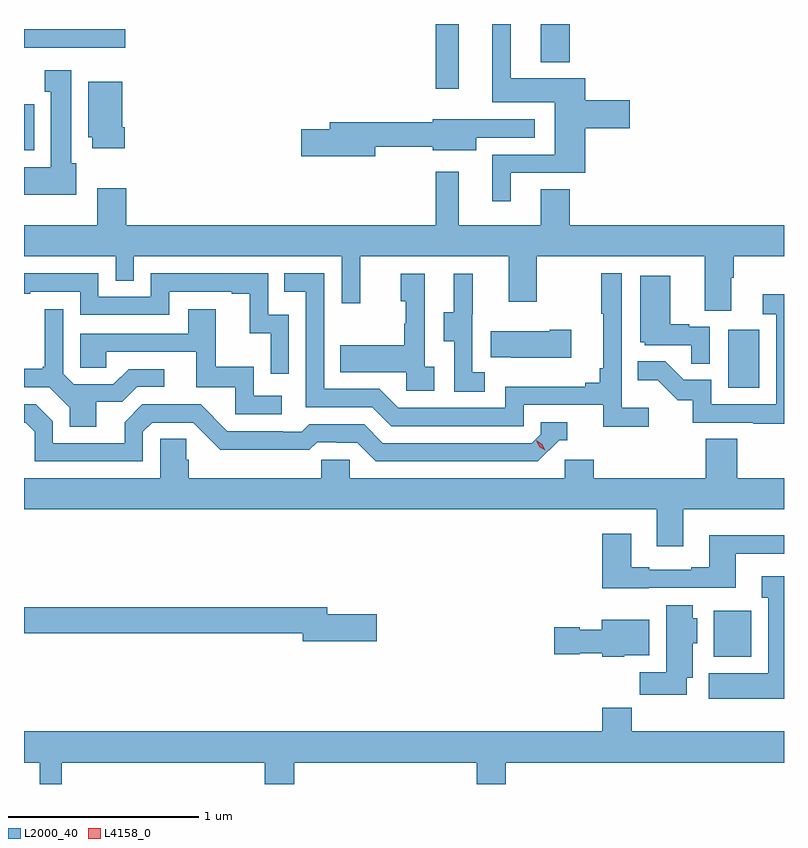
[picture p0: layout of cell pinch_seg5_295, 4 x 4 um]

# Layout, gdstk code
import gdstk
lib = gdstk.Library(unit=1e-6, precision=1e-09)
def R(c, l, rs):  # rectangles x0, y0, x1, y1
    for r in rs: c.add(gdstk.rectangle(r[:2], r[2:], *l))
def P(c, l, *ps):  # polygons
    for p in ps: c.add(gdstk.Polygon(p, *l))
L2000_40 = (2000, 40)
L4158_0 = (4158, 0)

pinch_seg5_295 = lib.new_cell('pinch_seg5_295')
R(pinch_seg5_295, L2000_40, [(894.113,881.294,894.31,881.536), (894.188,882.708,894.352,883.015), (890.482,883.958,890.536,884.2), (892.65,884.283,892.771,884.623), (893.201,884.423,893.354,884.623), (890.482,884.499,891.016,884.596)])
P(pinch_seg5_295, L2000_40, [(893.044,883.839),(893.435,883.839),(893.435,884.075),(893.671,884.075),(893.671,884.222),(893.435,884.222),(893.435,884.338),(893.044,884.338),(893.044,884.623),(892.946,884.623),(892.946,884.21),(893.276,884.21),(893.276,883.935),(892.946,883.935),(892.946,883.689),(893.044,883.689)],
  [(890.758,883.89),(890.731,883.89),(890.731,884.38),(890.591,884.38),(890.591,884.267),(890.624,884.267),(890.624,883.87),(890.482,883.87),(890.482,883.724),(890.758,883.724)],
  [(891.011,884.08),(890.998,884.08),(890.998,884.32),(890.819,884.32),(890.819,884.028),(890.84,884.028),(890.84,883.968),(891.011,883.968)],
  [(892.33,883.977),(892.634,883.977),(892.634,883.958),(892.861,883.958),(892.861,884.025),(893.17,884.025),(893.17,884.121),(892.857,884.121),(892.857,884.122),(892.634,884.122),(892.634,884.105),(892.091,884.105),(892.091,884.069),(891.942,884.069),(891.942,883.927),(892.33,883.927)],
  [(894.205,883.288),(894.218,883.288),(894.218,883.4),(894.482,883.4),(894.482,883.564),(893.354,883.564),(893.354,883.754),(893.201,883.754),(893.201,883.564),(892.771,883.564),(892.771,883.846),(892.65,883.846),(892.65,883.564),(891.02,883.564),(891.02,883.759),(890.867,883.759),(890.867,883.564),(890.482,883.564),(890.482,883.4),(890.964,883.4),(890.964,883.273),(891.06,883.273),(891.06,883.4),(892.155,883.4),(892.155,883.152),(892.253,883.152),(892.253,883.4),(893.033,883.4),(893.033,883.161),(893.181,883.161),(893.181,883.4),(894.065,883.4),(894.065,883.114),(894.205,883.114)],
  [(893.77,882.604),(893.628,882.604),(893.628,883.312),(893.52,883.312),(893.52,883.099),(893.531,883.099),(893.531,882.811),(893.512,882.811),(893.512,882.734),(893.435,882.734),(893.435,882.715),(893.016,882.715),(893.016,882.603),(892.452,882.603),(892.353,882.702),(892.062,882.702),(892.062,883.311),(891.853,883.311),(891.853,883.215),(891.966,883.215),(891.966,882.606),(892.316,882.606),(892.415,882.507),(893.112,882.507),(893.112,882.618),(893.531,882.618),(893.531,882.502),(893.77,882.502)],
  [(891.876,883.092),(891.768,883.092),(891.768,883.311),(891.15,883.311),(891.15,883.188),(890.874,883.188),(890.874,883.311),(890.482,883.311),(890.482,883.203),(890.515,883.203),(890.515,883.215),(890.778,883.215),(890.778,883.092),(891.246,883.092),(891.246,883.215),(891.575,883.215),(891.575,883.203),(891.671,883.203),(891.671,882.995),(891.78,882.995),(891.78,882.783),(891.876,882.783)],
  [(892.642,882.818),(892.59,882.818),(892.59,883.309),(892.466,883.309),(892.466,883.164),(892.492,883.164),(892.492,883.046),(892.482,883.046),(892.482,882.931),(892.147,882.931),(892.147,882.791),(892.494,882.791),(892.494,882.693),(892.642,882.693)],
  [(892.906,882.791),(892.842,882.791),(892.842,883.095),(892.844,883.095),(892.844,883.309),(892.745,883.309),(892.745,883.107),(892.691,883.107),(892.691,882.952),(892.746,882.952),(892.746,882.688),(892.906,882.688)],
  [(894.09,883.029),(893.984,883.029),(893.984,883.042),(893.884,883.042),(893.884,883.297),(893.726,883.297),(893.726,882.948),(893.748,882.948),(893.748,882.933),(893.995,882.933),(893.995,882.835),(894.09,882.835)],
  [(894.482,883.201),(894.369,883.201),(894.369,883.095),(894.441,883.095),(894.441,882.621),(894.099,882.621),(894.099,882.75),(893.955,882.75),(893.857,882.848),(893.713,882.848),(893.713,882.749),(893.817,882.749),(893.924,882.642),(894.001,882.642),(894.001,882.525),(894.319,882.525),(894.319,882.52),(894.482,882.52)],
  [(891.838,882.666),(891.69,882.666),(891.69,882.82),(891.491,882.82),(891.491,883.123),(891.347,883.123),(891.347,882.993),(890.778,882.993),(890.778,882.813),(890.915,882.813),(890.915,882.897),(891.389,882.897),(891.389,882.711),(891.594,882.711),(891.594,882.57),(891.838,882.57)],
  [(890.863,882.634),(890.998,882.634),(891.078,882.714),(891.22,882.714),(891.22,882.807),(891.032,882.807),(890.951,882.726),(890.745,882.726),(890.688,882.783),(890.688,883.123),(890.591,883.123),(890.591,882.82),(890.58,882.82),(890.58,882.808),(890.482,882.808),(890.482,882.711),(890.616,882.711),(890.723,882.604),(890.723,882.502),(890.863,882.502)],
  [(893.362,883.014),(893.249,883.014),(893.249,883.006),(892.939,883.006),(892.939,882.869),(893.047,882.869),(893.047,882.866),(893.362,882.866)],
  [(891.108,882.477),(891.156,882.525),(891.372,882.525),(891.514,882.383),(891.75,882.383),(891.75,882.381),(891.983,882.381),(892.025,882.423),(892.128,882.423),(892.128,882.42),(892.235,882.42),(892.334,882.321),(893.187,882.321),(893.298,882.432),(893.341,882.432),(893.341,882.528),(893.202,882.528),(893.202,882.465),(893.154,882.417),(892.371,882.417),(892.272,882.516),(891.983,882.516),(891.944,882.477),(891.845,882.477),(891.845,882.48),(891.552,882.48),(891.411,882.621),(891.105,882.621),(891.011,882.527),(891.011,882.417),(890.634,882.417),(890.634,882.531),(890.544,882.621),(890.482,882.621),(890.482,882.525),(890.49,882.525),(890.538,882.477),(890.538,882.321),(891.108,882.321)],
  [(893.953,882.068),(894.482,882.068),(894.482,882.232),(894.236,882.232),(894.236,882.44),(894.071,882.44),(894.071,882.232),(893.48,882.232),(893.48,882.33),(893.328,882.33),(893.328,882.232),(892.197,882.232),(892.197,882.33),(892.047,882.33),(892.047,882.232),(891.35,882.232),(891.35,882.33),(891.335,882.33),(891.335,882.44),(891.198,882.44),(891.198,882.232),(890.482,882.232),(890.482,882.068),(893.813,882.068),(893.813,881.874),(893.953,881.874)],
  [(893.769,881.655),(894.229,881.655),(894.229,881.835),(894.482,881.835),(894.482,881.932),(894.089,881.932),(894.089,881.764),(893.993,881.764),(893.993,881.751),(893.773,881.751),(893.773,881.764),(893.677,881.764),(893.677,881.941),(893.525,881.941),(893.525,881.654),(893.769,881.654)],
  [(894.482,881.716),(894.365,881.716),(894.365,881.603),(894.398,881.603),(894.398,881.206),(894.086,881.206),(894.086,881.072),(894.482,881.072)],
  [(893.971,881.183),(894.001,881.183),(894.001,881.364),(894.025,881.364),(894.025,881.496),(894.001,881.496),(894.001,881.563),(893.861,881.563),(893.861,881.212),(893.722,881.212),(893.722,881.094),(893.971,881.094)],
  [(892.339,881.516),(892.078,881.516),(892.078,881.552),(890.482,881.552),(890.482,881.416),(891.95,881.416),(891.95,881.374),(892.339,881.374)],
  [(893.64,881.3),(893.773,881.3),(893.773,881.488),(893.522,881.488),(893.522,881.434),(893.406,881.434),(893.406,881.447),(893.274,881.447),(893.274,881.305),(893.406,881.305),(893.406,881.312),(893.526,881.312),(893.526,881.294),(893.64,881.294)],
  [(890.681,880.736),(891.749,880.736),(891.749,880.623),(891.905,880.623),(891.905,880.736),(892.865,880.736),(892.865,880.623),(893.018,880.623),(893.018,880.736),(894.482,880.736),(894.482,880.9),(893.681,880.9),(893.681,881.024),(893.525,881.024),(893.525,880.9),(890.482,880.9),(890.482,880.736),(890.564,880.736),(890.564,880.623),(890.681,880.623)])
P(pinch_seg5_295, L4158_0, [(893.225,882.379),(893.194,882.398),(893.178,882.431),(893.178,882.431),(893.178,882.431),(893.209,882.412),(893.225,882.379),(893.225,882.379)])

lib.write_gds('pinch_seg5_295.gds')
